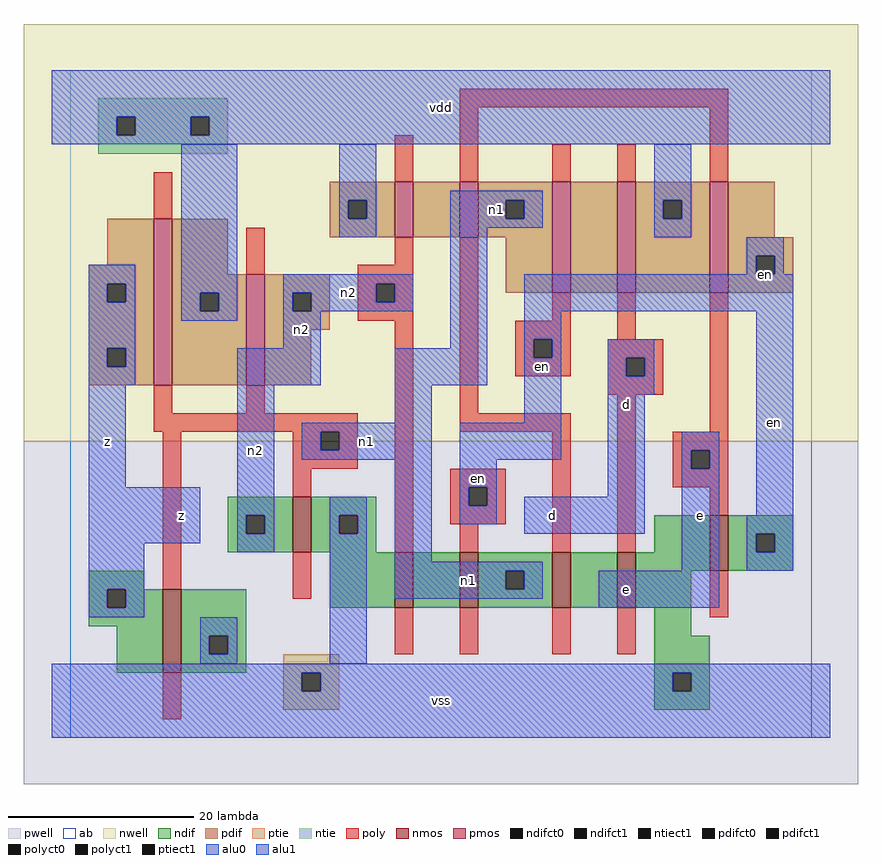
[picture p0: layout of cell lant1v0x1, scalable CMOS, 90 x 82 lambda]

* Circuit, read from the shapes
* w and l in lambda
.subckt lant1v0x1 d e en n1 n2 vdd vss z
M1 vss n1 z vss nfet w=9 l=2
M2 vss n1 n2 vss nfet w=6 l=2
M3 n3 n2 vss vss nfet w=6 l=2
M4 n1 en n3 vss nfet w=6 l=2
M5 n4 e n1 vss nfet w=6 l=2
M6 vss d n4 vss nfet w=6 l=2
M7 en e vss vss nfet w=6 l=2
M8 vdd n1 z vdd pfet w=18 l=2
M9 n2 n1 vdd vdd pfet w=12 l=2
M10 n5 n2 vdd vdd pfet w=6 l=2
M11 n1 e n5 vdd pfet w=6 l=2
M12 n6 en n1 vdd pfet w=12 l=2
M13 vdd d n6 vdd pfet w=12 l=2
M14 en e vdd vdd pfet w=12 l=2
.ends

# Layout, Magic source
magic
tech scmos
<< ab >>
rect 0 0 80 72
<< nwell >>
rect -5 32 85 77
<< pwell >>
rect -5 -5 85 32
<< poly >>
rect 42 68 71 70
rect 9 56 11 61
rect 35 60 37 65
rect 42 60 44 68
rect 52 60 54 64
rect 59 60 61 64
rect 69 60 71 68
rect 19 50 21 55
rect 35 51 37 54
rect 31 49 37 51
rect 31 47 33 49
rect 35 47 37 49
rect 31 45 37 47
rect 9 35 11 38
rect 19 35 21 38
rect 9 33 31 35
rect 10 16 12 33
rect 24 31 27 33
rect 29 31 31 33
rect 24 29 31 31
rect 24 26 26 29
rect 35 20 37 45
rect 42 35 44 54
rect 52 45 54 48
rect 48 43 54 45
rect 59 43 61 48
rect 48 41 50 43
rect 52 41 54 43
rect 48 39 54 41
rect 58 41 64 43
rect 58 39 60 41
rect 62 39 64 41
rect 58 37 64 39
rect 42 33 54 35
rect 41 27 47 29
rect 41 25 43 27
rect 45 25 47 27
rect 41 23 47 25
rect 42 20 44 23
rect 52 20 54 33
rect 59 20 61 37
rect 69 33 71 48
rect 65 31 71 33
rect 65 29 67 31
rect 69 29 71 31
rect 65 27 71 29
rect 69 24 71 27
rect 24 15 26 20
rect 35 9 37 14
rect 42 9 44 14
rect 52 9 54 14
rect 59 9 61 14
rect 69 13 71 18
rect 10 2 12 7
<< ndif >>
rect 2 16 8 18
rect 17 24 24 26
rect 17 22 19 24
rect 21 22 24 24
rect 17 20 24 22
rect 26 24 33 26
rect 26 22 29 24
rect 31 22 33 24
rect 26 20 33 22
rect 63 20 69 24
rect 2 14 4 16
rect 6 14 10 16
rect 2 12 10 14
rect 5 7 10 12
rect 12 11 19 16
rect 28 14 35 20
rect 37 14 42 20
rect 44 18 52 20
rect 44 16 47 18
rect 49 16 52 18
rect 44 14 52 16
rect 54 14 59 20
rect 61 18 69 20
rect 71 22 78 24
rect 71 20 74 22
rect 76 20 78 22
rect 71 18 78 20
rect 61 14 67 18
rect 12 9 15 11
rect 17 9 19 11
rect 63 11 67 14
rect 12 7 19 9
rect 63 7 69 11
rect 63 5 65 7
rect 67 5 69 7
rect 63 3 69 5
<< pdif >>
rect 28 58 35 60
rect 28 56 30 58
rect 32 56 35 58
rect 4 51 9 56
rect 2 49 9 51
rect 2 47 4 49
rect 6 47 9 49
rect 2 42 9 47
rect 2 40 4 42
rect 6 40 9 42
rect 2 38 9 40
rect 11 50 17 56
rect 28 54 35 56
rect 37 54 42 60
rect 44 58 52 60
rect 44 56 47 58
rect 49 56 52 58
rect 44 54 52 56
rect 11 48 19 50
rect 11 46 14 48
rect 16 46 19 48
rect 11 38 19 46
rect 21 48 28 50
rect 21 46 24 48
rect 26 46 28 48
rect 21 44 28 46
rect 21 38 26 44
rect 47 48 52 54
rect 54 48 59 60
rect 61 58 69 60
rect 61 56 64 58
rect 66 56 69 58
rect 61 48 69 56
rect 71 54 76 60
rect 71 52 78 54
rect 71 50 74 52
rect 76 50 78 52
rect 71 48 78 50
<< alu1 >>
rect -2 67 82 72
rect -2 65 5 67
rect 7 65 13 67
rect 15 65 82 67
rect -2 64 82 65
rect 2 49 7 51
rect 2 47 4 49
rect 6 47 7 49
rect 2 42 7 47
rect 2 40 4 42
rect 6 40 7 42
rect 2 38 7 40
rect 2 27 6 38
rect 2 21 14 27
rect 2 16 8 21
rect 2 14 4 16
rect 6 14 8 16
rect 2 13 8 14
rect 58 41 63 43
rect 58 39 60 41
rect 62 39 63 41
rect 58 37 63 39
rect 58 26 62 37
rect 49 22 62 26
rect 66 31 70 33
rect 66 29 67 31
rect 69 29 70 31
rect 66 18 70 29
rect 57 14 70 18
rect -2 7 82 8
rect -2 5 25 7
rect 27 5 65 7
rect 67 5 82 7
rect -2 0 82 5
<< ptie >>
rect 23 7 29 9
rect 23 5 25 7
rect 27 5 29 7
rect 23 3 29 5
<< ntie >>
rect 3 67 17 69
rect 3 65 5 67
rect 7 65 13 67
rect 15 65 17 67
rect 3 63 17 65
<< nmos >>
rect 24 20 26 26
rect 10 7 12 16
rect 35 14 37 20
rect 42 14 44 20
rect 52 14 54 20
rect 59 14 61 20
rect 69 18 71 24
<< pmos >>
rect 9 38 11 56
rect 35 54 37 60
rect 42 54 44 60
rect 19 38 21 50
rect 52 48 54 60
rect 59 48 61 60
rect 69 48 71 60
<< polyct0 >>
rect 33 47 35 49
rect 27 31 29 33
rect 50 41 52 43
rect 43 25 45 27
<< polyct1 >>
rect 60 39 62 41
rect 67 29 69 31
<< ndifct0 >>
rect 19 22 21 24
rect 29 22 31 24
rect 47 16 49 18
rect 74 20 76 22
rect 15 9 17 11
<< ndifct1 >>
rect 4 14 6 16
rect 65 5 67 7
<< ntiect1 >>
rect 5 65 7 67
rect 13 65 15 67
<< ptiect1 >>
rect 25 5 27 7
<< pdifct0 >>
rect 30 56 32 58
rect 47 56 49 58
rect 14 46 16 48
rect 24 46 26 48
rect 64 56 66 58
rect 74 50 76 52
<< pdifct1 >>
rect 4 47 6 49
rect 4 40 6 42
<< alu0 >>
rect 12 48 18 64
rect 29 58 33 64
rect 29 56 30 58
rect 32 56 33 58
rect 29 54 33 56
rect 41 58 51 59
rect 41 56 47 58
rect 49 56 51 58
rect 41 55 51 56
rect 63 58 67 64
rect 63 56 64 58
rect 66 56 67 58
rect 12 46 14 48
rect 16 46 18 48
rect 12 45 18 46
rect 23 49 37 50
rect 23 48 33 49
rect 23 46 24 48
rect 26 47 33 48
rect 35 47 37 49
rect 26 46 37 47
rect 23 42 27 46
rect 41 42 45 55
rect 63 54 67 56
rect 73 52 77 54
rect 73 50 74 52
rect 76 50 77 52
rect 18 38 27 42
rect 35 38 45 42
rect 49 46 78 50
rect 49 43 53 46
rect 49 41 50 43
rect 52 41 53 43
rect 18 24 22 38
rect 35 34 39 38
rect 49 34 53 41
rect 25 33 39 34
rect 25 31 27 33
rect 29 31 39 33
rect 25 30 39 31
rect 18 22 19 24
rect 21 22 22 24
rect 18 20 22 22
rect 28 24 32 26
rect 28 22 29 24
rect 31 22 32 24
rect 14 11 18 13
rect 14 9 15 11
rect 17 9 18 11
rect 14 8 18 9
rect 28 8 32 22
rect 35 19 39 30
rect 42 30 53 34
rect 42 27 46 30
rect 42 25 43 27
rect 45 25 46 27
rect 42 23 46 25
rect 35 18 51 19
rect 74 24 78 46
rect 73 22 78 24
rect 73 20 74 22
rect 76 20 78 22
rect 73 18 78 20
rect 35 16 47 18
rect 49 16 51 18
rect 35 15 51 16
<< labels >>
rlabel alu0 32 32 32 32 6 n1
rlabel alu0 25 44 25 44 6 n2
rlabel alu0 20 31 20 31 6 n2
rlabel alu0 30 48 30 48 6 n2
rlabel alu0 43 17 43 17 6 n1
rlabel alu0 44 28 44 28 6 en
rlabel alu0 51 40 51 40 6 en
rlabel alu0 46 57 46 57 6 n1
rlabel alu0 76 34 76 34 6 en
rlabel alu0 75 50 75 50 6 en
rlabel alu1 4 32 4 32 6 z
rlabel alu1 12 24 12 24 6 z
rlabel alu1 40 4 40 4 6 vss
rlabel alu1 52 24 52 24 6 d
rlabel alu1 40 68 40 68 6 vdd
rlabel alu1 60 16 60 16 6 e
rlabel alu1 68 24 68 24 6 e
rlabel alu1 60 36 60 36 6 d
<< end >>
